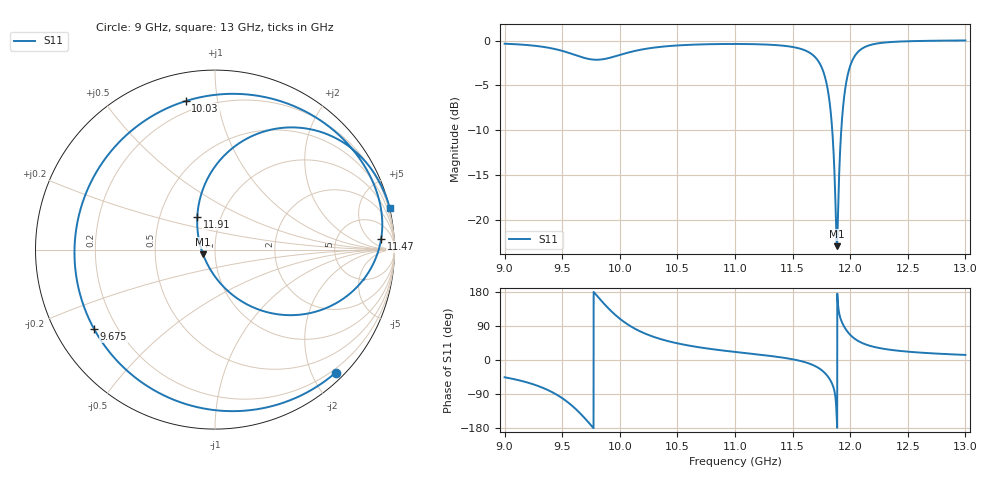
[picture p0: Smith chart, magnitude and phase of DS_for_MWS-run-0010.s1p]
! TOUCHSTONE file generated by CST DESIGN STUDIO
! Date and time: Tue Feb  4 17:52:01 2025
! Project name: C:\Work\MatlabApps\UnitCellOptimizationMatlab\CST\unitcell.cst
! Tree item: Tasks\Sweep1\SPara1\S-Parameters
! Header version: 2024
! Port assignment regex: !\s*Touchstone port\s*([0-9]+)\s*=\s*(CST MWS port|CST DES external port|CST DES block port)\s*(.+)\s* \(\"(.*)\"\)(\s*mode\s*([0-9]+))?.*
! Touchstone port assignment:
! Touchstone port 1 = CST DES external port 1 ("")
# GHz S MA R 50
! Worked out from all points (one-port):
!   4001 points, 9 GHz to 13 GHz, reference 50 ohm
!   lowest |S11| = -22.9 dB at 11.88 GHz (marker M1), VSWR 1.15, Z = 43.7 - j2.4 ohm
!   |S11| at or under -10 dB: 11.84 GHz to 11.92 GHz (77.97 MHz wide, 0.656 % of centre)
!   S11 on the Smith chart (normalised r, x): 9 GHz: 0.14, -2.37; 9.675 GHz: 0.12, -0.29; 10.03 GHz: 0.14, +0.81; 11.47 GHz: 16, +13; 11.91 GHz: 0.77, +0.30; 13 GHz: -0.03, +8.52
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9  0.96 -45.6
9.274  0.933 -66.7
9.5  0.8758 -100.7
9.589  0.8405 -121.6
9.675  0.806 -146.8
9.748  0.7859 -171.5
9.817  0.7822 164.2
9.911  0.8008 133.2
10  0.8314 109.0
10.034  0.8436 101.1
10.247  0.9038 66.3
10.5  0.9389 44.0
11  0.957 21.3
11.469  0.9275 3.6
11.5  0.9208 1.9
11.679  0.8273 -13.6
11.781  0.6271 -34.6
11.834  0.3812 -57.0
11.872  0.1238 -98.9
11.884  0.07162 -157.6
11.895  0.1145 143.5
11.908  0.2091 118.2
11.943  0.4582 90.4
12  0.7224 66.5
12.075  0.8735 49.2
12.167  0.9413 37.8
12.5  0.9908 22.0
13  1.001 13.4
